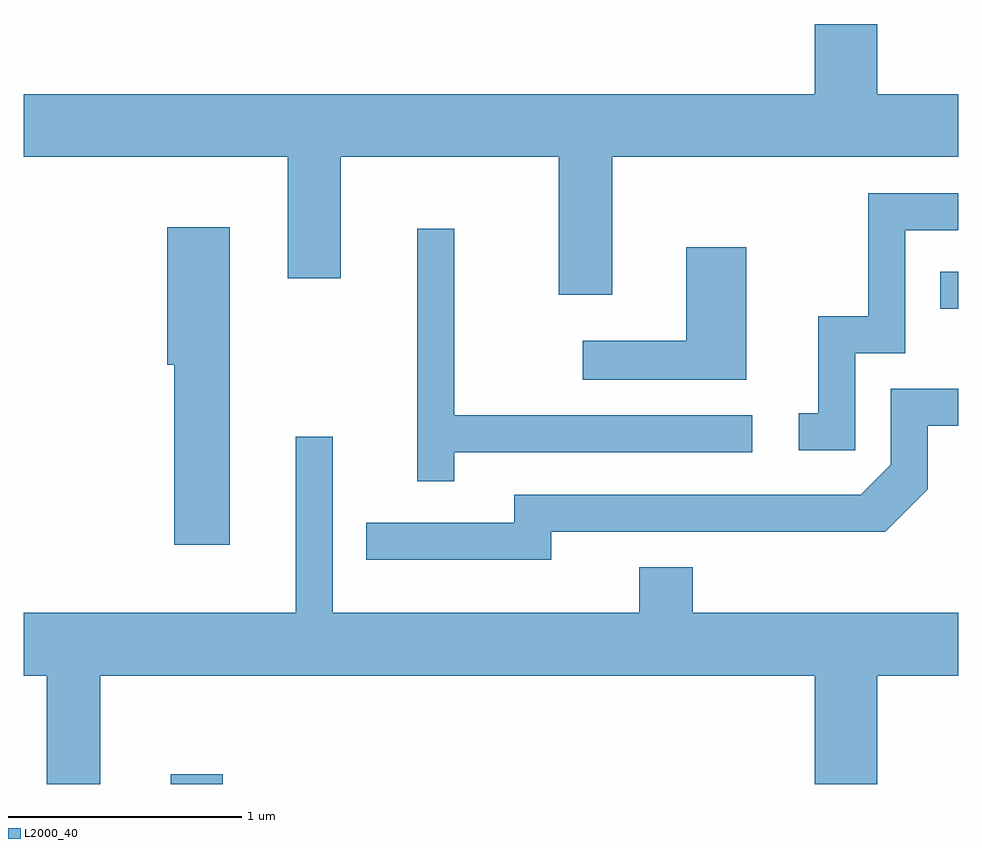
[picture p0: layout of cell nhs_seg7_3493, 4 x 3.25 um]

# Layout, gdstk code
import gdstk
lib = gdstk.Library(unit=1e-6, precision=1e-09)
def R(c, l, rs):  # rectangles x0, y0, x1, y1
    for r in rs: c.add(gdstk.rectangle(r[:2], r[2:], *l))
def P(c, l, *ps):  # polygons
    for p in ps: c.add(gdstk.Polygon(p, *l))
L2000_40 = (2000, 40)

nhs_seg7_3493 = lib.new_cell('nhs_seg7_3493')
R(nhs_seg7_3493, L2000_40, [(292.241,1758.252,292.464,1758.294), (295.533,1760.286,295.611,1760.444)])
P(nhs_seg7_3493, L2000_40, [(294.129,1760.936),(295.611,1760.936),(295.611,1761.204),(295.264,1761.204),(295.264,1761.504),(294.996,1761.504),(294.996,1761.204),(291.611,1761.204),(291.611,1760.936),(292.741,1760.936),(292.741,1760.416),(292.969,1760.416),(292.969,1760.936),(293.901,1760.936),(293.901,1760.346),(294.129,1760.346)],
  [(295.169,1760.096),(295.384,1760.096),(295.384,1760.621),(295.611,1760.621),(295.611,1760.779),(295.226,1760.779),(295.226,1760.254),(295.011,1760.254),(295.011,1759.839),(294.928,1759.839),(294.928,1759.681),(295.169,1759.681)],
  [(292.494,1760.634),(292.226,1760.634),(292.226,1760.046),(292.256,1760.046),(292.256,1759.276),(292.494,1759.276)],
  [(293.454,1759.671),(294.728,1759.671),(294.728,1759.829),(293.454,1759.829),(293.454,1760.628),(293.296,1760.628),(293.296,1759.548),(293.454,1759.548)],
  [(294.704,1760.549),(294.446,1760.549),(294.446,1760.149),(294.003,1760.149),(294.003,1759.981),(294.704,1759.981)],
  [(293.869,1759.331),(295.297,1759.331),(295.479,1759.514),(295.479,1759.786),(295.611,1759.786),(295.611,1759.944),(295.321,1759.944),(295.321,1759.617),(295.194,1759.489),(293.711,1759.489),(293.711,1759.369),(293.078,1759.369),(293.078,1759.211),(293.869,1759.211)],
  [(294.996,1758.252),(295.264,1758.252),(295.264,1758.716),(295.611,1758.716),(295.611,1758.984),(294.474,1758.984),(294.474,1759.179),(294.246,1759.179),(294.246,1758.984),(292.934,1758.984),(292.934,1759.738),(292.776,1759.738),(292.776,1758.984),(291.611,1758.984),(291.611,1758.716),(291.711,1758.716),(291.711,1758.252),(291.939,1758.252),(291.939,1758.716),(294.996,1758.716)])

lib.write_gds('nhs_seg7_3493.gds')
